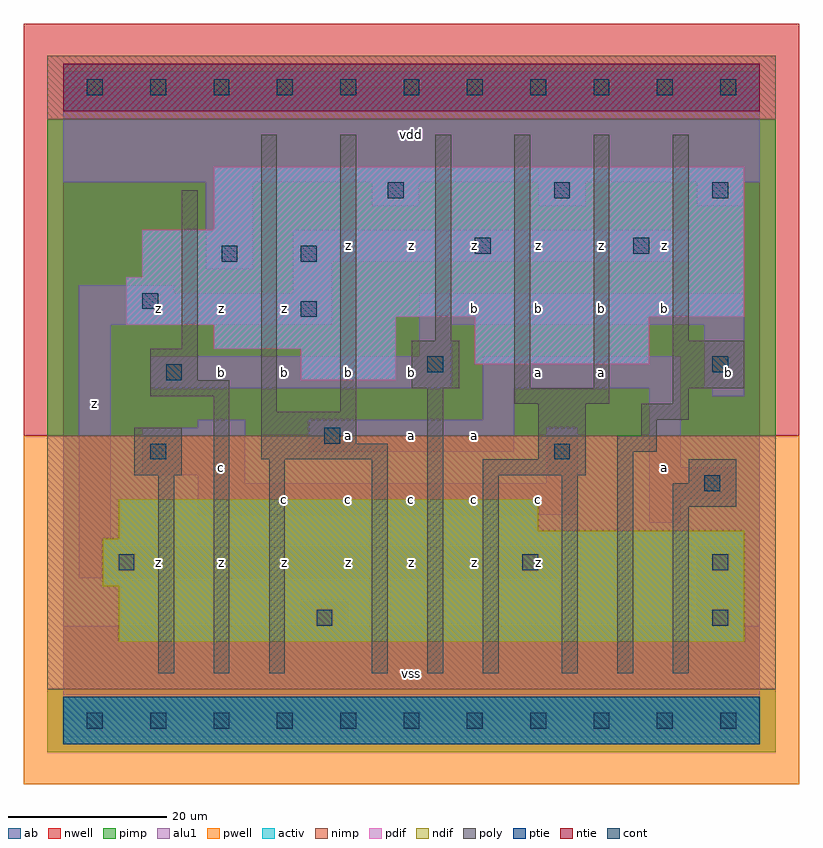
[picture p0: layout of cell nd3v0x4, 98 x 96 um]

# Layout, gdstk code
import gdstk
lib = gdstk.Library(unit=1e-6, precision=1e-09)
def R(c, l, rs):  # rectangles x0, y0, x1, y1
    for r in rs: c.add(gdstk.rectangle(r[:2], r[2:], *l))
def A(c, l, x, y, w, h, nx, ny, dx, dy):  # array of equal rectangles
    R(c, l, [(x+i*dx, y+j*dy, x+i*dx+w, y+j*dy+h) for i in range(nx) for j in range(ny)])
ndif = (3, 0)
pdif = (4, 0)
ntie = (5, 0)
ptie = (6, 0)
cont = (25, 0)
pwell = (41, 0)
nwell = (42, 0)
activ = (43, 0)
pimp = (44, 0)
nimp = (45, 0)
poly = (46, 0)
alu1 = (49, 0)
ab = (63, 0)

nd3v0x4 = lib.new_cell('nd3v0x4')
R(nd3v0x4, ndif, [(7,10,86,17), (5,17,86,23), (7,23,86,24), (7,24,60,28)])
R(nd3v0x4, pdif, [(30,43,42,47), (52,45,74,51), (19,47,42,50), (8,50,42,51), (8,51,86,56), (10,56,86,62), (19,62,86,70)])
R(nd3v0x4, ntie, [(0,77,88,83)])
R(nd3v0x4, ptie, [(0,-3,88,3)])
A(nd3v0x4, cont, 3, -1, 2, 2, 11, 2, 8, 80)
R(nd3v0x4, cont, [(32,12,34,14), (82,12,84,14), (7,19,9,21), (58,19,60,21), (82,19,84,21), (81,29,83,31), (11,33,13,35), (62,33,64,35), (33,35,35,37), (13,43,15,45), (46,44,48,46), (82,44,84,46), (30,51,32,53), (10,52,12,54), (20,58,22,60), (30,58,32,60), (52,59,54,61), (72,59,74,61), (41,66,43,68), (62,66,64,68), (82,66,84,68)])
R(nd3v0x4, pwell, [(-5,-8,93,36)])
R(nd3v0x4, nwell, [(-5,36,93,88)])
R(nd3v0x4, activ, [(0,-3,88,3), (7,10,86,17), (5,17,86,23), (7,23,86,24), (7,24,60,28), (30,43,42,47), (52,45,74,51), (19,47,42,50), (8,50,42,51), (8,51,86,56), (10,56,86,62), (19,62,86,70), (0,77,88,83)])
R(nd3v0x4, pimp, [(-2,-4,90,4), (-2,36,90,76)])
R(nd3v0x4, nimp, [(-2,4,90,36), (-2,76,90,84)])
R(nd3v0x4, poly, [(12,6,14,31), (19,6,21,41), (26,6,28,33), (39,6,41,33), (46,6,48,42), (53,6,55,31), (63,6,65,31), (70,6,72,34), (77,6,79,27), (77,27,85,30), (79,30,85,33), (9,31,15,37), (53,31,66,33), (25,33,41,35), (60,33,66,40), (70,34,75,36), (25,35,37,39), (73,36,75,38), (73,38,79,40), (25,39,27,74), (35,39,37,74), (57,40,69,42), (77,40,79,42), (11,41,21,43), (44,42,50,48), (57,42,59,74), (67,42,69,74), (77,42,86,48), (11,43,17,47), (15,47,17,67), (47,48,49,74), (77,48,79,74)])
R(nd3v0x4, alu1, [(0,-2,88,12), (30,12,36,15), (80,12,86,22), (2,18,63,22), (2,22,6,50), (74,25,78,28), (17,26,65,30), (74,28,85,32), (17,30,23,31), (61,30,65,37), (10,31,23,37), (74,32,78,42), (31,34,57,38), (17,37,23,38), (53,38,57,42), (82,41,86,42), (11,42,49,46), (53,42,78,46), (81,42,86,50), (45,46,49,50), (2,50,34,54), (45,50,86,54), (2,54,14,55), (29,54,34,58), (18,57,24,68), (29,58,79,62), (39,65,45,68), (60,65,66,68), (80,65,86,68), (0,68,88,82)])
R(nd3v0x4, ab, [(0,0,88,80)])
nd3v0x4.add(gdstk.Label('z', (12,20), layer=49, texttype=0))
nd3v0x4.add(gdstk.Label('z', (4,40), layer=49, texttype=0))
nd3v0x4.add(gdstk.Label('z', (12,52), layer=49, texttype=0))
nd3v0x4.add(gdstk.Label('z', (20,20), layer=49, texttype=0))
nd3v0x4.add(gdstk.Label('z', (28,20), layer=49, texttype=0))
nd3v0x4.add(gdstk.Label('c', (28,28), layer=49, texttype=0))
nd3v0x4.add(gdstk.Label('c', (20,32), layer=49, texttype=0))
nd3v0x4.add(gdstk.Label('b', (20,44), layer=49, texttype=0))
nd3v0x4.add(gdstk.Label('b', (28,44), layer=49, texttype=0))
nd3v0x4.add(gdstk.Label('z', (20,52), layer=49, texttype=0))
nd3v0x4.add(gdstk.Label('z', (28,52), layer=49, texttype=0))
nd3v0x4.add(gdstk.Label('vss', (44,6), layer=49, texttype=0))
nd3v0x4.add(gdstk.Label('z', (36,20), layer=49, texttype=0))
nd3v0x4.add(gdstk.Label('c', (36,28), layer=49, texttype=0))
nd3v0x4.add(gdstk.Label('z', (44,20), layer=49, texttype=0))
nd3v0x4.add(gdstk.Label('c', (44,28), layer=49, texttype=0))
nd3v0x4.add(gdstk.Label('a', (36,36), layer=49, texttype=0))
nd3v0x4.add(gdstk.Label('b', (36,44), layer=49, texttype=0))
nd3v0x4.add(gdstk.Label('a', (44,36), layer=49, texttype=0))
nd3v0x4.add(gdstk.Label('b', (44,44), layer=49, texttype=0))
nd3v0x4.add(gdstk.Label('z', (36,60), layer=49, texttype=0))
nd3v0x4.add(gdstk.Label('z', (44,60), layer=49, texttype=0))
nd3v0x4.add(gdstk.Label('vdd', (44,74), layer=49, texttype=0))
nd3v0x4.add(gdstk.Label('z', (52,20), layer=49, texttype=0))
nd3v0x4.add(gdstk.Label('c', (52,28), layer=49, texttype=0))
nd3v0x4.add(gdstk.Label('z', (60,20), layer=49, texttype=0))
nd3v0x4.add(gdstk.Label('c', (60,28), layer=49, texttype=0))
nd3v0x4.add(gdstk.Label('a', (52,36), layer=49, texttype=0))
nd3v0x4.add(gdstk.Label('a', (60,44), layer=49, texttype=0))
nd3v0x4.add(gdstk.Label('a', (68,44), layer=49, texttype=0))
nd3v0x4.add(gdstk.Label('b', (60,52), layer=49, texttype=0))
nd3v0x4.add(gdstk.Label('b', (68,52), layer=49, texttype=0))
nd3v0x4.add(gdstk.Label('b', (52,52), layer=49, texttype=0))
nd3v0x4.add(gdstk.Label('z', (52,60), layer=49, texttype=0))
nd3v0x4.add(gdstk.Label('z', (60,60), layer=49, texttype=0))
nd3v0x4.add(gdstk.Label('z', (68,60), layer=49, texttype=0))
nd3v0x4.add(gdstk.Label('a', (76,32), layer=49, texttype=0))
nd3v0x4.add(gdstk.Label('b', (84,44), layer=49, texttype=0))
nd3v0x4.add(gdstk.Label('b', (76,52), layer=49, texttype=0))
nd3v0x4.add(gdstk.Label('z', (76,60), layer=49, texttype=0))

lib.write_gds('nd3v0x4.gds')
